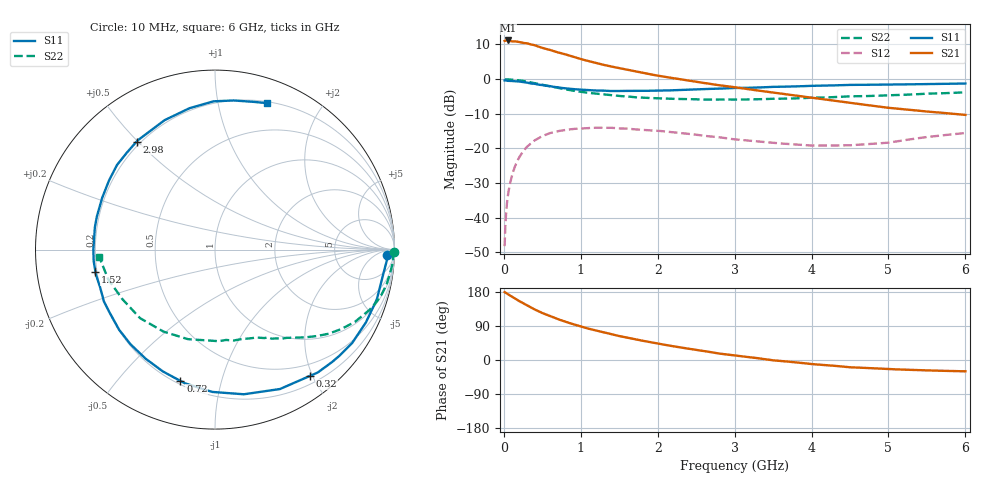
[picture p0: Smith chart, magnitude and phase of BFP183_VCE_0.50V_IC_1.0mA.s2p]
! (c) 2016  Infineon Technologies AG, Munich
! Infineon Technologies  Discrete & RF Semiconductors
! BFP183
! VCE = 0.50V,  IC =  1.0 mA
! Common Emitter S-Parameters:  Jan 2016
# GHz  S  MA  R  50
!  f  S11  S21  S12  S22
! GHz  MAG  ANG  MAG  ANG  MAG  ANG  MAG  ANG
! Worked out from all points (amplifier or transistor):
!   210 points, 10 MHz to 6 GHz, reference 50 ohm
!   highest |S21| = 11.2 dB at 50 MHz (marker M1)
!   |S21| within 3 dB of that: start of sweep to 637.4 MHz
!   unconditionally stable (mu >= 1): 2.243 GHz to end of sweep
!   at 185 MHz: K = 0.09, MSG = 17.0 dB, |S12| = -23.2 dB
!   at 1.52 GHz: K = 0.66, MSG = 8.7 dB, |S12| = -14.2 dB
!   at 6 GHz: K = 1.41, MAG = -1.2 dB, |S12| = -15.5 dB
!   S11 on the Smith chart (normalised r, x): 10 MHz: 31, -21; 320 MHz: 0.31, -1.97; 720 MHz: 0.22, -0.75; 1.52 GHz: 0.19, -0.09; 2.98 GHz: 0.18, +0.50; 6 GHz: 0.21, +1.39
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0.01  0.9568 -1.7  3.554 179.2  0.0039 85.5  0.9989 -0.8
0.025  0.9567 -4.4  3.605 177.5  0.0098 87.9  0.9905 -1.9
0.05  0.9469 -8.6  3.614 173.9  0.0199 85.3  0.9945 -3.8
0.095  0.9427 -16.2  3.519 168.4  0.0365 80.0  0.9851 -7.2
0.15  0.9336 -25.8  3.512 161.6  0.057 73.9  0.9758 -11.5
0.2  0.9246 -34.2  3.445 155.5  0.0745 69.0  0.9615 -15.0
0.32  0.8808 -53.0  3.238 142.6  0.1104 57.5  0.9127 -22.6
0.4  0.857 -65.0  3.089 133.5  0.1308 50.8  0.877 -27.4
0.5  0.822 -78.7  2.825 124.0  0.1507 43.0  0.8298 -32.3
0.6  0.7931 -91.1  2.64 115.7  0.1667 36.1  0.789 -36.4
0.72  0.7564 -104.8  2.401 106.6  0.179 29.1  0.7411 -40.6
0.88  0.7223 -120.6  2.141 95.8  0.19 21.0  0.6874 -45.4
1.02  0.7037 -133.4  1.922 87.4  0.1951 14.9  0.6511 -48.9
1.2  0.6853 -147.7  1.71 77.7  0.1994 7.7  0.619 -53.3
1.52  0.6775 -169.5  1.428 62.4  0.1944 -1.2  0.57 -59.5
2.02  0.6835 163.5  1.114 42.8  0.1795 -11.0  0.5296 -69.3
2.42  0.7059 146.1  0.945 29.2  0.1622 -17.0  0.516 -78.9
2.98  0.7435 126.0  0.77 12.4  0.1364 -19.6  0.5077 -92.8
3.1  0.7475 122.4  0.738 9.6  0.1323 -19.0  0.5081 -96.1
4.1  0.8038 98.2  0.522 -12.2  0.1102 -7.1  0.5417 -125.4
5.1  0.8386 81.6  0.377 -24.7  0.1263 8.5  0.5892 -154.4
6  0.8656 70.5  0.305 -29.9  0.1671 8.9  0.6464 -176.4
